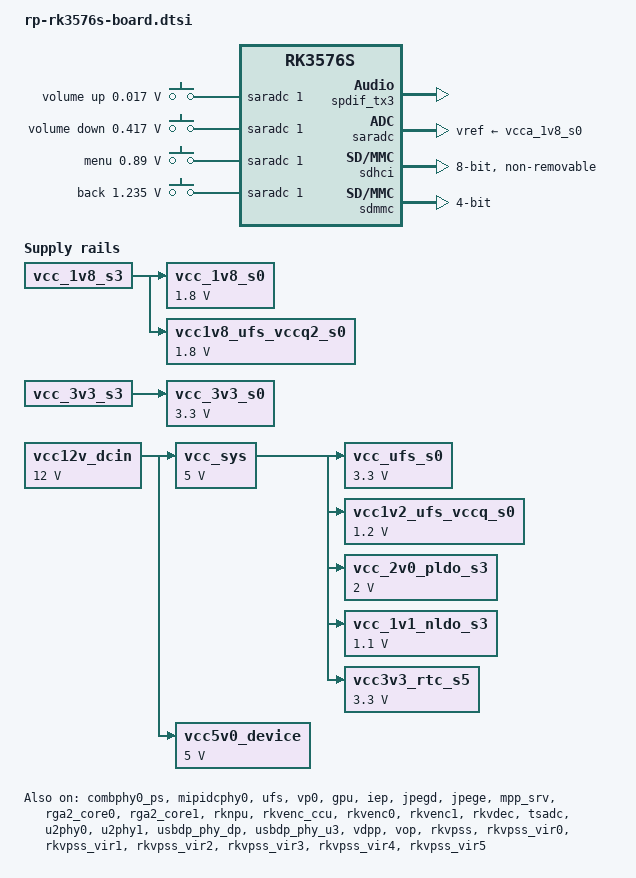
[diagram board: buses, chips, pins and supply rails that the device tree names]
// SPDX-License-Identifier: (GPL-2.0+ OR MIT)
/*
 * Copyright (c) 2024 Rongpin Electronics Co., Ltd.
 *
 */

#include <dt-bindings/gpio/gpio.h>
#include <dt-bindings/pwm/pwm.h>
#include <dt-bindings/pinctrl/rockchip.h>
#include <dt-bindings/input/rk-input.h>
#include <dt-bindings/display/drm_mipi_dsi.h>
#include <dt-bindings/display/rockchip_vop.h>
#include <dt-bindings/sensor-dev.h>
#include <dt-bindings/usb/pd.h>

//#include "rk3576-evb-input-keymap.dtsi"
#include "rk3576s.dtsi"
#include "rk3576-rk806.dtsi"
#include "rk3576-linux.dtsi"


/ {
    pdmics: dummy-codec {
        status = "disabled";
        compatible = "rockchip,dummy-codec";
        #sound-dai-cells = <0>;
    };

    pdm_mic_array: pdm-mic-array {
        status = "disabled";
        compatible = "simple-audio-card";
        simple-audio-card,name = "rockchip,pdm-mic-array";
        simple-audio-card,cpu {
            sound-dai = <&pdm1>;
        };
        simple-audio-card,codec {
            sound-dai = <&pdmics>;
        };
    };

    vcc_1v8_s0: vcc-1v8-s0 {
        compatible = "regulator-fixed";
        regulator-name = "vcc_1v8_s0";
        regulator-boot-on;
        regulator-always-on;
        regulator-min-microvolt = <1800000>;
        regulator-max-microvolt = <1800000>;
        vin-supply = <&vcc_1v8_s3>;
    };

    vcc_3v3_s0: vcc-3v3-s0 {
        compatible = "regulator-fixed";
        regulator-name = "vcc_3v3_s0";
        regulator-boot-on;
        regulator-always-on;
        regulator-min-microvolt = <3300000>;
        regulator-max-microvolt = <3300000>;
        vin-supply = <&vcc_3v3_s3>;
    };

    vcc_ufs_s0: vcc-ufs-s0 {
        compatible = "regulator-fixed";
        regulator-name = "vcc_ufs_s0";
        regulator-boot-on;
        regulator-always-on;
        regulator-min-microvolt = <3300000>;
        regulator-max-microvolt = <3300000>;
        vin-supply = <&vcc_sys>;
    };

    vcc1v8_ufs_vccq2_s0: vcc1v8-ufs-vccq2-s0 {
        compatible = "regulator-fixed";
        regulator-name = "vcc1v8_ufs_vccq2_s0";
        regulator-boot-on;
        regulator-always-on;
        regulator-min-microvolt = <1800000>;
        regulator-max-microvolt = <1800000>;
        vin-supply = <&vcc_1v8_s3>;
    };

    vcc1v2_ufs_vccq_s0: vcc1v2-ufs-vccq-s0 {
        compatible = "regulator-fixed";
        regulator-name = "vcc1v2_ufs_vccq_s0";
        regulator-boot-on;
        regulator-always-on;
        regulator-min-microvolt = <1200000>;
        regulator-max-microvolt = <1200000>;
        vin-supply = <&vcc_sys>;
    };
    
    adc_keys: adc-keys {
        compatible = "adc-keys";
        io-channels = <&saradc 1>;
        io-channel-names = "buttons";
        keyup-threshold-microvolt = <1800000>;
        poll-interval = <100>;

        vol-up-key {
            label = "volume up";
            linux,code = <KEY_VOLUMEUP>;
            press-threshold-microvolt = <17000>;
        };

        vol-down-key {
            label = "volume down";
            linux,code = <KEY_VOLUMEDOWN>;
            press-threshold-microvolt = <417000>;
        };

        menu-key {
            label = "menu";
            linux,code = <KEY_MENU>;
            press-threshold-microvolt = <890000>;
        };

        back-key {
            label = "back";
            linux,code = <KEY_BACK>;
            press-threshold-microvolt = <1235000>;
        };
    };

    leds: leds {
        status = "disabled";
        compatible = "gpio-leds";
        work_led: work {
            gpios = <&gpio0 RK_PB4 GPIO_ACTIVE_HIGH>;
            linux,default-trigger = "heartbeat";
        };
    };

    test-power {
        status = "okay";
    };

    vcc12v_dcin: vcc12v-dcin {
        compatible = "regulator-fixed";
        regulator-name = "vcc12v_dcin";
        regulator-always-on;
        regulator-boot-on;
        regulator-min-microvolt = <12000000>;
        regulator-max-microvolt = <12000000>;
    };

    vcc_sys: vcc5v0-sys {
        compatible = "regulator-fixed";
        regulator-name = "vcc_sys";
        regulator-always-on;
        regulator-boot-on;
        regulator-min-microvolt = <5000000>;
        regulator-max-microvolt = <5000000>;
        vin-supply = <&vcc12v_dcin>;
    };

    vcc5v0_device: vcc5v0-device {
        compatible = "regulator-fixed";
        regulator-name = "vcc5v0_device";
        regulator-always-on;
        regulator-boot-on;
        regulator-min-microvolt = <5000000>;
        regulator-max-microvolt = <5000000>;
        vin-supply = <&vcc12v_dcin>;
    };

    vcc_2v0_pldo_s3: vcc-2v0-pldo-s3 {
        compatible = "regulator-fixed";
        regulator-name = "vcc_2v0_pldo_s3";
        regulator-boot-on;
        regulator-always-on;
        regulator-min-microvolt = <2000000>;
        regulator-max-microvolt = <2000000>;
        vin-supply = <&vcc_sys>;
    };

    vcc_1v1_nldo_s3: vcc-1v1-nldo-s3 {
        compatible = "regulator-fixed";
        regulator-name = "vcc_1v1_nldo_s3";
        regulator-boot-on;
        regulator-always-on;
        regulator-min-microvolt = <1100000>;
        regulator-max-microvolt = <1100000>;
        vin-supply = <&vcc_sys>;
    };

    vcc3v3_rtc_s5: vcc3v3-rtc-s5 {
        compatible = "regulator-fixed";
        regulator-name = "vcc3v3_rtc_s5";
        regulator-boot-on;
        regulator-always-on;
        regulator-min-microvolt = <3300000>;
        regulator-max-microvolt = <3300000>;
        vin-supply = <&vcc_sys>;
    };
};

&combphy0_ps {
    status = "okay";
};

&mipidcphy0 {
    status = "okay";
};

&pdm1 {
    status = "disabled";
    pinctrl-names = "default";
    pinctrl-0 = <&pdm1m1_clk0
             &pdm1m1_clk1
             &pdm1m1_sdi0
             &pdm1m1_sdi1
             &pdm1m1_sdi2
             &pdm1m1_sdi3>;
};

&spdif_tx3 {
    status = "okay";
};

&ufs {
    status = "okay";
    reset-gpios = <&gpio4 RK_PD0 GPIO_ACTIVE_HIGH>;
};


&vp0 {
    status = "okay";
};

&cpu_l0 {
    cpu-supply = <&vdd_cpu_lit_s0>;
};

&cpu_b0 {
    cpu-supply = <&vdd_cpu_big_s0>;
};

&display_subsystem {
    clocks = <&hdptxphy_hdmi>;
    clock-names = "hdmi0_phy_pll";
};

&gpu {
    mali-supply = <&vdd_gpu_s0>;
    status = "okay";
};

&iep {
    status = "okay";
};

&iep_mmu {
    status = "okay";
};

&jpegd {
    status = "okay";
};

&jpege {
    status = "okay";
};

&jpeg_mmu {
    status = "okay";
};

&mpp_srv {
    status = "okay";
};

&rga2_core0 {
    status = "okay";
};

&rga2_core0_mmu {
    status = "okay";
};

&rga2_core1 {
    status = "okay";
};

&rga2_core1_mmu {
    status = "okay";
};

&rknpu {
    rknpu-supply = <&vdd_npu_s0>;
    status = "okay";
};

&rknpu_mmu {
    status = "okay";
};

&rkvenc_ccu {
    status = "okay";
};

&rkvenc0 {
    status = "okay";
};

&rkvenc0_mmu {
    status = "okay";
};

&rkvenc1 {
    status = "okay";
};

&rkvenc1_mmu {
    status = "okay";

};

&rkvdec {
    status = "okay";
};

&rkvdec_mmu {
    status = "okay";
};

&rockchip_suspend {
    status = "okay";
    rockchip,sleep-debug-en = <1>;

    rockchip,sleep-io-ret-config = <
        (0
        | RKPM_VCCIO3_RET_EN
        )
    >;
};

&saradc {
    status = "okay";
    vref-supply = <&vcca_1v8_s0>;
};

&sdhci {
    bus-width = <8>;
    no-sdio;
    no-sd;
    non-removable;
    max-frequency = <200000000>;
    mmc-hs400-1_8v;
    mmc-hs400-enhanced-strobe;
    full-pwr-cycle-in-suspend;
    pinctrl-names = "default";
    /*pinctrl-0 = <&emmc_rstnout
             &emmc_bus8
             &emmc_clk
             &emmc_cmd
             &emmc_strb>;
    */
    status = "okay";
};

&sdmmc {
    max-frequency = <200000000>;
    no-sdio;
    no-mmc;
    bus-width = <4>;
    cap-mmc-highspeed;
    cap-sd-highspeed;
    disable-wp;
    sd-uhs-sdr104;
    vqmmc-supply = <&vccio_sd_s0>;
    status = "okay";
};

&tsadc {
    status = "okay";
};

&u2phy0 {
    status = "okay";
};

&u2phy1 {
    status = "okay";
};

&usbdp_phy_dp {
    status = "okay";
};

&usbdp_phy_u3 {
    status = "okay";
};

&vdpp {
    status = "okay";
};

&vop {
    status = "okay";
    vop-supply = <&vdd_logic_s0>;
};

&vop_mmu {
    status = "okay";
};

&vp2 {
    assigned-clocks = <&cru DCLK_VP2_SRC>;
    assigned-clock-parents = <&cru PLL_VPLL>;
};


&rkvpss {
    status = "okay";
};

&rkvpss_mmu {
    status = "okay";
};

&rkvpss_vir0 {
    status = "okay";
};

&rkvpss_vir1 {
    status = "okay";
};

&rkvpss_vir2 {
    status = "okay";
};

&rkvpss_vir3 {
    status = "okay";
};

&rkvpss_vir4 {
    status = "okay";
};

&rkvpss_vir5 {
    status = "okay";
};

&dmc {
    status = "disabled";
};

&dfi {
    status = "disabled";
};
